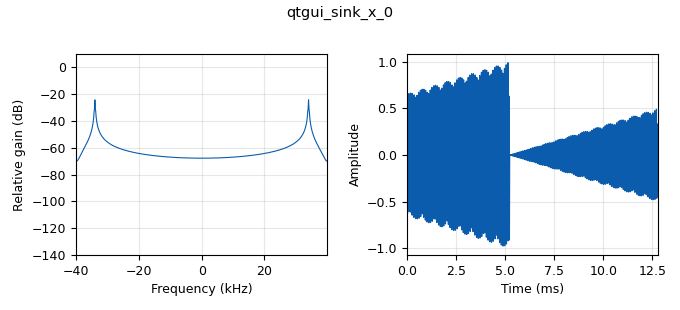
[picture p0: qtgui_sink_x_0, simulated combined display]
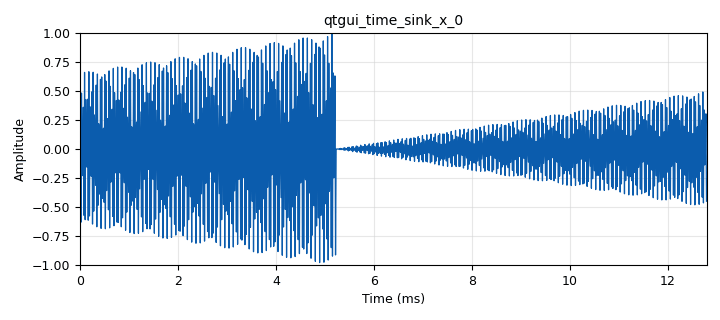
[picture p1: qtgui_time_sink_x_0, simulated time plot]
options:
  parameters:
    author: labcom
    generate_options: qt_gui
    id: potencia2
    output_language: python
    title: Not titled yet
  states: {}

blocks:
- name: samp_rate
  id: variable
  parameters:
    value: '80000'
  states: {}
- name: analog_sig_source_x_0
  id: analog_sig_source_x
  parameters:
    amp: '1'
    freq: '66'
    offset: '0'
    phase: '0'
    samp_rate: samp_rate
    type: float
    waveform: analog.GR_SAW_WAVE
  states: {}
- name: analog_sig_source_x_1
  id: analog_sig_source_x
  parameters:
    amp: '1'
    freq: '34060'
    offset: '0'
    phase: '0'
    samp_rate: samp_rate
    type: float
    waveform: analog.GR_COS_WAVE
  states: {}
- name: blocks_multiply_xx_0
  id: blocks_multiply_xx
  parameters:
    type: float
  states: {}
- name: calculoPotencia_0
  id: calculoPotencia
  parameters:
    l_vect: '1024'
  states: {}
- name: qtgui_sink_x_0
  id: qtgui_sink_x
  parameters:
    bw: samp_rate
    fc: '0'
    fftsize: '1024'
    type: float
  states: {}
- name: qtgui_time_sink_x_0
  id: qtgui_time_sink_x
  parameters:
    size: '1024'
    srate: samp_rate
    type: float
  states: {}

connections:
- [analog_sig_source_x_0, '0', blocks_multiply_xx_0, '0']
- [analog_sig_source_x_1, '0', blocks_multiply_xx_0, '1']
- [blocks_multiply_xx_0, '0', calculoPotencia_0, '0']
- [blocks_multiply_xx_0, '0', qtgui_sink_x_0, '0']
- [blocks_multiply_xx_0, '0', qtgui_time_sink_x_0, '0']

metadata:
  file_format: 1
